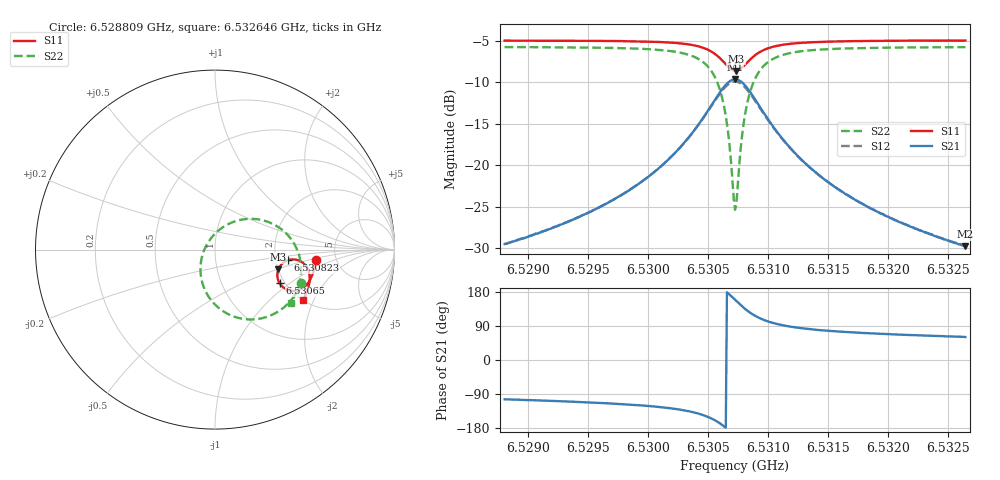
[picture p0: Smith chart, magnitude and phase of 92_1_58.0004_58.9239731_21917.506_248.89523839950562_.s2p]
#  HZ  S  RI  R  50.00
! Rohde & Schwarz Vector Network Analyzer
! Rohde-Schwarz,ZNB20-2Port,1311601062101988,3.16
! Created: UTC 3/21/2024, 12:54:20 AM
! freq[Hz]  re:S11  im:S11  re:S21  im:S21  re:S12  im:S12  re:S22  im:S22
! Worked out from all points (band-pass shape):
!   401 points, 6.528809 GHz to 6.532646 GHz, reference 50 ohm
!   highest |S21| = -9.64 dB at 6.530727 GHz (marker M1); lowest = -29.8 dB at 6.532646 GHz (marker M2)
!   |S21| within 3 dB of the highest: 6.530536 GHz to 6.53092 GHz (383.6 kHz wide, 0.00587 % of centre)
!   lowest |S11| = -8.6 dB at 6.530737 GHz (marker M3), VSWR 2.17, Z = 100 - j25.6 ohm
!   |S11| at or under -10 dB: nowhere
!   |S22| runs from -25.4 to -5.8 dB; largest |S21 - S12| = 0.014
!   S11 on the Smith chart (normalised r, x): 6.528809 GHz: 3.48, -0.57; 6.53065 GHz: 1.88, -0.84; 6.530823 GHz: 2.35, -0.33; 6.532646 GHz: 2.01, -1.66
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6.5288085e9  0.5607 -0.0556  -0.00792 -0.0324  -0.00869 -0.0323  0.481 -0.1852
6.5294513e9  0.5512 -0.1106  -0.0179 -0.0463  -0.0189 -0.0459  0.4487 -0.2475
6.5298062e9  0.5406 -0.145  -0.0305 -0.0604  -0.0321 -0.0597  0.4153 -0.2915
6.530094e9  0.5239 -0.1783  -0.0536 -0.0797  -0.0559 -0.078  0.3629 -0.3377
6.5303243e9  0.4944 -0.2101  -0.0987 -0.1019  -0.1018 -0.0984  0.2717 -0.3798
6.5304873e9  0.4466 -0.2294  -0.1751 -0.1079  -0.1774 -0.1003  0.1319 -0.381
6.5305833e9  0.3971 -0.221  -0.2519 -0.0753  -0.2504 -0.0644  0.0046 -0.3106
6.5306504e9  0.3603 -0.1878  -0.3052 -0.00668  -0.2977 0.00424  -0.0709 -0.1848
6.5306792e9  0.3502 -0.1647  -0.3169 0.0371  -0.3067 0.0462  -0.0812 -0.11
6.5307176e9  0.3483 -0.1284  -0.3127 0.102  -0.3003 0.1071  -0.0614 -0.00469
6.5307272e9  0.3502 -0.1193  -0.3076 0.1179  -0.2951 0.122  -0.0499 0.0203
6.5307368e9  0.3531 -0.1104  -0.3009 0.1335  -0.2884 0.1362  -0.0359 0.0442
6.5307464e9  0.3569 -0.102  -0.2928 0.148  -0.2803 0.1496  -0.0199 0.0665
6.5307847e9  0.3794 -0.0742  -0.2488 0.1949  -0.2383 0.193  0.0607 0.1352
6.5308231e9  0.408 -0.0588  -0.1968 0.2203  -0.1891 0.2168  0.1513 0.1675
6.5308902e9  0.4545 -0.0569  -0.116 0.2237  -0.112 0.22  0.2871 0.1574
6.5309862e9  0.4955 -0.0786  -0.0459 0.1913  -0.0441 0.1892  0.4003 0.0864
6.5311301e9  0.5202 -0.1154  -0.00344 0.1418  -0.00217 0.1411  0.4632 -0.0141
6.5313699e9  0.5278 -0.1596  0.0151 0.0929  0.0163 0.0926  0.48 -0.1167
6.5316481e9  0.5237 -0.1948  0.0185 0.0644  0.0195 0.0641  0.4715 -0.1828
6.5320126e9  0.5131 -0.2303  0.0181 0.0449  0.0188 0.0446  0.4535 -0.2365
6.5326458e9  0.4907 -0.2804  0.0159 0.0283  0.0164 0.0282  0.4207 -0.2967
